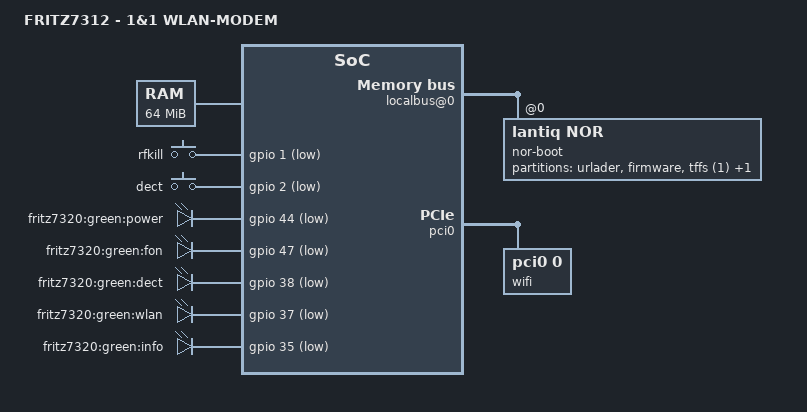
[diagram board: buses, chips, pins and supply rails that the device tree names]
/dts-v1/;

#include "ar9.dtsi"

#include <dt-bindings/input/input.h>

/ {
	model = "FRITZ7312 - 1&1 WLAN-MODEM";

	chosen {
		bootargs = "console=ttyLTQ0,115200";
	};

	aliases {
		led-boot = &power;
		led-dsl = &info_green;
		led-wifi = &wlan;
	};

	memory@0 {
		reg = <0x0 0x4000000>;
	};

	fpi@10000000 {
		localbus@0 {
			nor-boot@0 {
				compatible = "lantiq,nor";
				bank-width = <2>;
				reg = <0 0x0 0x1000000>;
				#address-cells = <1>;
				#size-cells = <1>;

				partitions {
					compatible = "fixed-partitions";
					#address-cells = <1>;
					#size-cells = <1>;

					ath9k_cal: partition@0 {
						label = "urlader";
						reg = <0x00000 0x20000>;
						read-only;
					};

					partition@20000 {
						label = "firmware";
						reg = <0x20000 0xf60000>;
					};

					partition@f80000 {
						label = "tffs (1)";
						reg = <0xf80000 0x40000>;
						read-only;
					};

					partition@fc0000 {
						label = "tffs (2)";
						reg = <0xfc0000 0x40000>;
						read-only;
					};
				};
			};
		};

		gpio: pinmux@E100B10 {
			pinctrl-names = "default";
			pinctrl-0 = <&state_default>;

			state_default: pinmux {
			};
		};

		etop@E180000 {
			mtd-mac-address = <&ath9k_cal 0xa91>;
			mtd-mac-address-increment = <(-2)>;
		};

		ifxhcd@E101000 {
			status = "okay";
		};
	};

	gpio-keys-polled {
		compatible = "gpio-keys-polled";
		#address-cells = <1>;
		#size-cells = <0>;
		poll-interval = <100>;

		rfkill {
			label = "rfkill";
			gpios = <&gpio 1 GPIO_ACTIVE_LOW>;
			linux,code = <KEY_RFKILL>;
		};
		dect {
			label = "dect";
			gpios = <&gpio 2 GPIO_ACTIVE_LOW>;
			linux,code = <KEY_PHONE>;
		};
	};

	gpio-leds {
		compatible = "gpio-leds";
		power: power {
			label = "fritz7320:green:power";
			gpios = <&gpio 44 GPIO_ACTIVE_LOW>;
			default-state = "keep";
		};
		voice {
			label = "fritz7320:green:fon";
			gpios = <&gpio 47 GPIO_ACTIVE_LOW>;
		};
		dect {
			label = "fritz7320:green:dect";
			gpios = <&gpio 38 GPIO_ACTIVE_LOW>;
		};
		wlan: wlan {
			label = "fritz7320:green:wlan";
			gpios = <&gpio 37 GPIO_ACTIVE_LOW>;
		};
		info_green: info_green {
			label = "fritz7320:green:info";
			gpios = <&gpio 35 GPIO_ACTIVE_LOW>;
		};
	};
};

&pci0 {
	status = "okay";
	req-mask = <0xf>;
	gpio-reset = <&gpio 21 GPIO_ACTIVE_HIGH>;

	wifi@0,0 {
		compatible = "pci0,0";
		reg = <0x7000 0 0 0 0>;
		qca,no-eeprom; /* load from ath9k-eeprom-pci-0000:00:0e.0.bin */
	};
};
